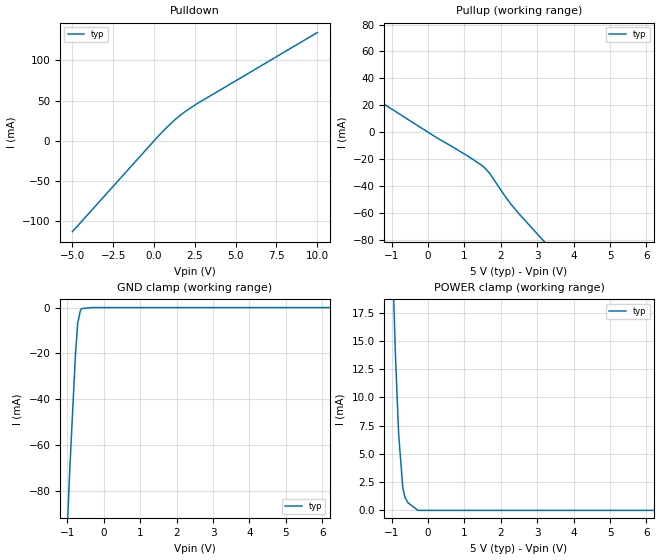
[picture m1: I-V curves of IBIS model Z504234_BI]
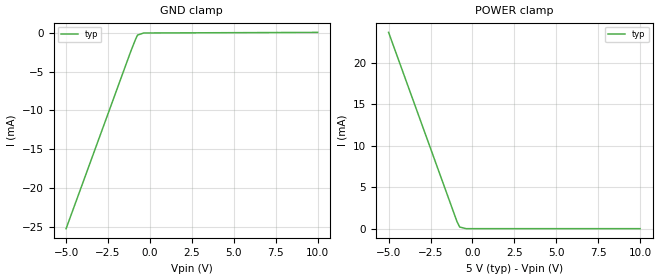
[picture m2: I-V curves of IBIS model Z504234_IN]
| YOU ARE ONLY AUTHORIZED TO USE THIS SOFTWARE
| ACCORDING TO LICENSOR'S LICENSE RESTRICTIONS.
[IBIS Ver] 3.1
[File Name] mc74hc4053dw.ibs
[File Rev] 2.0
[Source] Measured and created by ICX Technology
[Date] Friday 7/14/00 9:08:10 AM
[Copyright]
| (C) COPYRIGHT 1993-2000
| MENTOR GRAPHICS CORPORATION
| ICX STANDARD LIBRARY, ICX PROJECT MODELING,
| ICX CUSTOM MODELING, ICX VENDOR MODEL
| ALL RIGHTS RESERVED.
| THE FOLLOWING ARE TRADEMARKS OR SERVICE MARKS OF
| MENTOR GRAPHICS CORPORATION:ICX (R), ICX STANDARD
| LIBRARY(R), ICX PROJECT MODELING(R), ICX CUSTOM
| MODELING(R), qualityIBIS(TM), MODELVIEWER(TM),
| AND MODELEDITOR(TM)
| ALL COPIES OF SOFTWARE, INCLUDING BUT NOT LIMITED TO
| ANY MODIFICATIONS, ENHANCEMENTS OR DERIVATIVE WORKS,
| MUST CONTAIN ALL MENTOR GRAPHICS CORPORATION'S
| NOTICES AND LEGENDS, INCLUDING THOSE EMBEDDED IN
| SOFTWARE AND THOSE AFFIXED TO SOFTWARE MEDIUM
| AND CONTAINER, AS RECEIVED FROM MENTOR GRAPHICS
| CORPORATION.
|  ZAP Model Builder 2.7
[Component] MC74HC4053DW
[Manufacturer] OnSemiconductor
[Package]
| variable   typ   min   max
R_pkg  .176ohms NA NA
L_pkg  4.193nH NA NA
C_pkg  .603pF NA NA
[Pin] signal_name  model_name  R_pin  L_pin C_pin
1 B1B Z504234_BI .182 4.888n .648p
2 B0B Z504234_BI .178 4.418n .618p
3 B1C Z504234_BI .174 3.958n .588p
4 S3 Z504234_BI .17 3.508n .558p
5 B0C Z504234_BI .17 3.508n .558p
6 _G Z504234_IN .174 3.958n .588p
7 VEE GND .178 4.418n .618p
8 GND GND .182 4.888n .648p
9 A3 Z504234_IN .182 4.888n .648p
10 A2 Z504234_IN .178 4.418n .618p
11 A1 Z504234_IN .174 3.958n .588p
12 B0A Z504234_BI .17 3.508n .558p
13 B1A Z504234_BI .17 3.508n .558p
14 S1 Z504234_BI .174 3.958n .588p
15 S2 Z504234_BI .178 4.418n .618p
16 VCC POWER .182 4.888n .648p
| Models and submodels in the file (2): Z504234_BI (I/O), Z504234_IN (Input)
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| (C) COPYRIGHT 1993-2000
| MENTOR GRAPHICS CORPORATION
| ICX STANDARD LIBRARY, ICX PROJECT MODELING,
| ICX CUSTOM MODELING, ICX VENDOR MODEL
| ALL RIGHTS RESERVED.
| THE FOLLOWING ARE TRADEMARKS OR SERVICE MARKS OF
| MENTOR GRAPHICS CORPORATION:ICX (R), ICX STANDARD
| LIBRARY(R), ICX PROJECT MODELING(R), ICX CUSTOM
| MODELING(R), qualityIBIS(TM), MODELVIEWER(TM),
| AND MODELEDITOR(TM)
| ALL COPIES OF SOFTWARE, INCLUDING BUT NOT LIMITED TO
| ANY MODIFICATIONS, ENHANCEMENTS OR DERIVATIVE WORKS,
| MUST CONTAIN ALL MENTOR GRAPHICS CORPORATION'S
| NOTICES AND LEGENDS, INCLUDING THOSE EMBEDDED IN
| SOFTWARE AND THOSE AFFIXED TO SOFTWARE MEDIUM
| AND CONTAINER, AS RECEIVED FROM MENTOR GRAPHICS
| CORPORATION.
| Model Application Version 1.89 2/18/99.
[Model] Z504234_BI
Model_type I/O
Vinl=1.000V
Vinh=3.500V
Vref=0.000V
Rref=500.0Mohms
Cref=50.00pF
Vmeas=2.500V
C_comp 8.000pF NA NA
| variable typ   min   max
[Voltage Range] 5.000V NA NA
[POWER Clamp Reference] 5.000V NA NA
[Pullup Reference] 5.000V NA NA
[Pulldown Reference] 0.000V NA NA
[GND Clamp Reference] 0.000V NA NA
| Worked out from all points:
|   slope of the pulldown table from 0 to 0.75 V, typ, clamps not added: 46.4 ohm
|   slope of the pullup table from 0 to 0.75 V, typ, clamps not added: 61.7 ohm
|   GND clamp passes 1 mA (typ) near -0.63 V on its own axis
|   POWER clamp passes 1 mA (typ) near -0.61 V on its own axis
[GND Clamp]
-5V       -1.56A     NA         NA
-927.7mV  -67.93mA   NA         NA
-780.5mV  -20.7mA    NA         NA
-718.2mV  -6.79mA    NA         NA
-642.1mV  -1.176mA   NA         NA
-605.5mV  -410.9uA   NA         NA
-302.7mV  0A         NA         NA
10V       0A         NA         NA
[Pulldown]
-5V       -112.6mA   NA         NA
295mV     6.791mA    NA         NA
707.7mV   15.49mA    NA         NA
1.24V     25.71mA    NA         NA
1.534V    30.79mA    NA         NA
1.929V    36.86mA    NA         NA
2.583V    45.69mA    NA         NA
10V       134.7mA    NA         NA
[Pullup]
-5V       86.2mA     NA         NA
230mV     -4.047mA   NA         NA
669mV     -10.9mA    NA         NA
1.084V    -17.72mA   NA         NA
1.436V    -23.99mA   NA         NA
1.555V    -26.49mA   NA         NA
1.712V    -31.37mA   NA         NA
2.074V    -46.11mA   NA         NA
2.286V    -53.89mA   NA         NA
2.481V    -60.27mA   NA         NA
10V       -284.3mA   NA         NA
[POWER Clamp]
-5V       541mA      NA         NA
-1.004V   25.38mA    NA         NA
-896mV    13.82mA    NA         NA
-806mV    6.719mA    NA         NA
-692mV    1.987mA    NA         NA
-635mV    1.16mA     NA         NA
-554mV    688uA      NA         NA
-277mV    0A         NA         NA
10V       0A         NA         NA
[Ramp]
| variable typ min max
dV/dt_r 2.678/5.029n NA NA
dV/dt_f 2.678/9.419n NA NA
R_load = 500.0Ohms
| (C) COPYRIGHT 1993-2000
| MENTOR GRAPHICS CORPORATION
| ICX STANDARD LIBRARY, ICX PROJECT MODELING,
| ICX CUSTOM MODELING, ICX VENDOR MODEL
| ALL RIGHTS RESERVED.
| THE FOLLOWING ARE TRADEMARKS OR SERVICE MARKS OF
| MENTOR GRAPHICS CORPORATION:ICX (R), ICX STANDARD
| LIBRARY(R), ICX PROJECT MODELING(R), ICX CUSTOM
| MODELING(R), qualityIBIS(TM), MODELVIEWER(TM),
| AND MODELEDITOR(TM)
| ALL COPIES OF SOFTWARE, INCLUDING BUT NOT LIMITED TO
| ANY MODIFICATIONS, ENHANCEMENTS OR DERIVATIVE WORKS,
| MUST CONTAIN ALL MENTOR GRAPHICS CORPORATION'S
| NOTICES AND LEGENDS, INCLUDING THOSE EMBEDDED IN
| SOFTWARE AND THOSE AFFIXED TO SOFTWARE MEDIUM
| AND CONTAINER, AS RECEIVED FROM MENTOR GRAPHICS
| CORPORATION.
| Model Application Version 1.89 2/18/99.
[Model] Z504234_IN
Model_type Input
Vinl = 1.000V
Vinh = 3.500V
C_comp 4.000pF NA NA
| variable typ   min   max
[Voltage Range] 5.000V NA NA
[GND Clamp Reference] 0.000V NA NA
[POWER Clamp Reference] 5.000V NA NA
[GND Clamp]
-5V       -25.24mA   NA         NA
-1.14V    -2.368mA   NA         NA
-852.4mV  -796.4uA   NA         NA
-739.3mV  -282.8uA   NA         NA
-369.7mV  -12.87uA   NA         NA
10V       62.03uA    NA         NA
[POWER Clamp]
-5V       23.7mA     NA         NA
-918mV    832.6uA    NA         NA
-762mV    197.3uA    NA         NA
-381mV    0A         NA         NA
10V       0A         NA         NA
